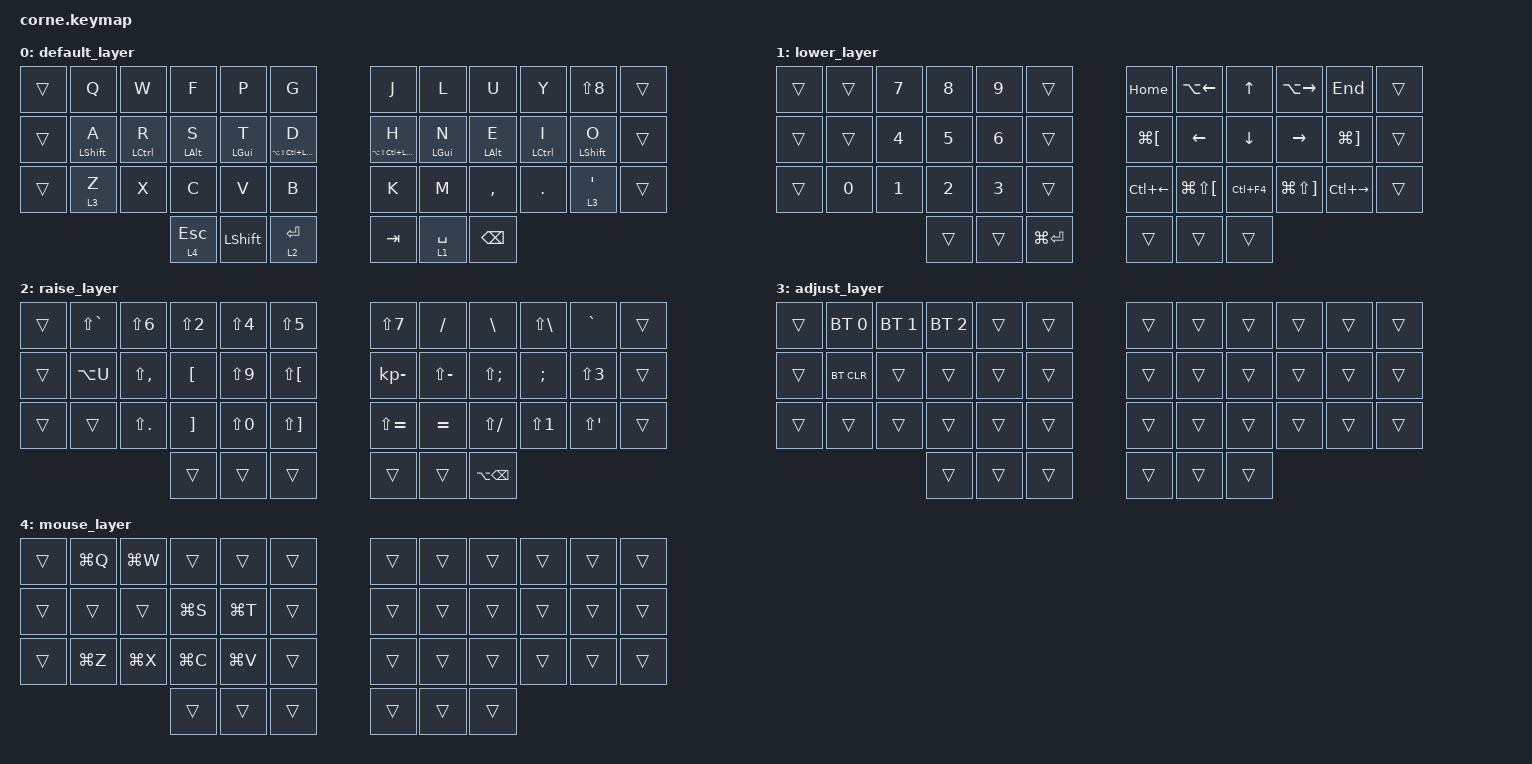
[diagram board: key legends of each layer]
/*
 * Copyright (c) 2020 The ZMK Contributors
 *
 * SPDX-License-Identifier: MIT
 */

#include <behaviors.dtsi>
#include <dt-bindings/zmk/keys.h>
#include <dt-bindings/zmk/bt.h>

/ {
    behaviors {
        // Customized mod_tap and layer_tap:
        // - mod_tap is 'tap preferred' as it's used on home-row
        // - layer_tap uses balanced flavor
        mt_: custom_mod_tap {
            compatible = "zmk,behavior-hold-tap";
            label = "MOD_TAP";
            #binding-cells = <2>;
            flavor = "tap-preferred";
            tapping-term-ms = <200>;
            bindings = <&kp>, <&kp>;
        };
        lt_: custom_layer_tap {
            compatible = "zmk,behavior-hold-tap";
            label = "LAYER_TAP";
            #binding-cells = <2>;
            flavor = "balanced";
            tapping-term-ms = <200>;
            bindings = <&mo>, <&kp>;
        };
    };

    keymap {
            compatible = "zmk,keymap";

            default_layer {
                    bindings = <
&trans &kp Q &kp W &kp F &kp P &kp G &kp J &kp L &kp U &kp Y &kp LS(N8) &trans
&trans &mt_ LSHFT A &mt_ LCTRL R &mt_ LALT S &mt_ LGUI T &mt_ LA(LS(LC(LGUI))) D &mt_ LA(LS(LC(LGUI))) H &mt_ LGUI N &mt_ LALT E &mt_ LCTRL I &mt_ LSHFT O &trans
&trans &lt_ 3 Z &kp X &kp C &kp V &kp B &kp K &kp M &kp COMMA &kp DOT &lt_ 3 SQT &trans
&lt_ 4 ESC &kp LSHFT &lt_ 2 RET &kp TAB &lt_ 1 SPC &kp BKSP
                    >;
            };

            lower_layer {
                    bindings = <
&trans &trans &kp N7 &kp N8 &kp N9 &trans &kp HOME &kp LA(LEFT) &kp UP &kp LA(RIGHT) &kp END &trans
&trans &trans &kp N4 &kp N5 &kp N6 &trans &kp LG(LBKT) &kp LEFT &kp DOWN &kp RIGHT &kp LG(RBKT) &trans
&trans &kp N0 &kp N1 &kp N2 &kp N3 &trans &kp LC(LEFT) &kp LG(LS(LBKT)) &kp LC(F4) &kp LG(LS(RBKT)) &kp LC(RIGHT) &trans
&trans &trans &kp LG(RET) &trans &trans &trans
                    >;
            };

            raise_layer {
                    bindings = <
&trans &kp LS(GRAVE) &kp LS(N6) &kp LS(N2) &kp LS(N4) &kp LS(N5) &kp LS(N7) &kp FSLH &kp BSLH &kp LS(BSLH) &kp GRAVE &trans
&trans &kp LA(U) &kp LS(COMMA) &kp LBKT &kp LS(N9) &kp LS(LBKT) &kp KP_MINUS &kp LS(MINUS) &kp LS(SEMI) &kp SEMI &kp LS(N3) &trans
&trans &trans &kp LS(DOT) &kp RBKT &kp LS(N0) &kp LS(RBKT) &kp LS(EQUAL) &kp EQUAL &kp LS(FSLH) &kp LS(N1) &kp LS(SQT) &trans
&trans &trans &trans &trans &trans &kp LA(BKSP)
                    >;
            };

            adjust_layer {
                    bindings = <
&trans &bt BT_SEL 0 &bt BT_SEL 1 &bt BT_SEL 2 &trans &trans &trans &trans &trans &trans &trans &trans
&trans &bt BT_CLR &trans &trans &trans &trans &trans &trans &trans &trans &trans &trans
&trans &trans &trans &trans &trans &trans &trans &trans &trans &trans &trans &trans
&trans &trans &trans &trans &trans &trans
                    >;
            };

            mouse_layer {
                    bindings = <
&trans &kp LG(Q) &kp LG(W) &trans &trans &trans &trans &trans &trans &trans &trans &trans
&trans &trans &trans &kp LG(S) &kp LG(T) &trans &trans &trans &trans &trans &trans &trans
&trans &kp LG(Z) &kp LG(X) &kp LG(C) &kp LG(V) &trans &trans &trans &trans &trans &trans &trans
&trans &trans &trans &trans &trans &trans
                    >;
            };
        };
};
